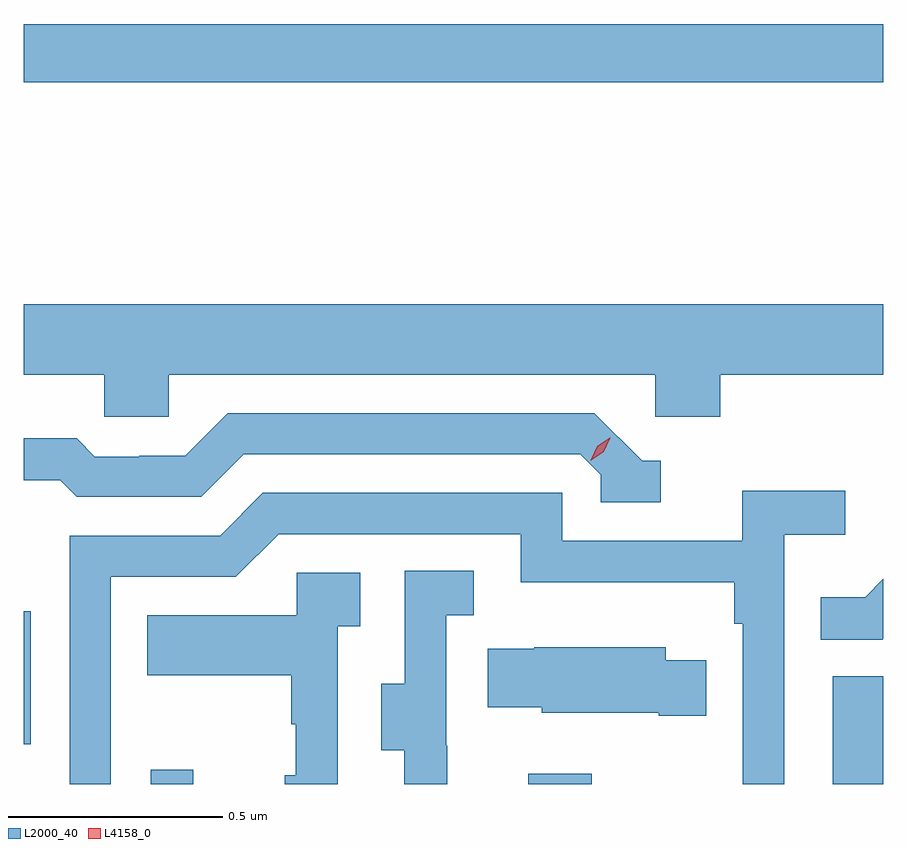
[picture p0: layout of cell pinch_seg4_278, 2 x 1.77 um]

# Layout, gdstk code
import gdstk
lib = gdstk.Library(unit=1e-6, precision=1e-09)
def R(c, l, rs):  # rectangles x0, y0, x1, y1
    for r in rs: c.add(gdstk.rectangle(r[:2], r[2:], *l))
def P(c, l, *ps):  # polygons
    for p in ps: c.add(gdstk.Polygon(p, *l))
L2000_40 = (2000, 40)
L4158_0 = (4158, 0)

pinch_seg4_278 = lib.new_cell('pinch_seg4_278')
R(pinch_seg4_278, L2000_40, [(936.777,819.844,936.875,819.877), (937.655,819.844,937.803,819.868), (938.363,819.844,938.481,820.095), (936.481,819.936,936.498,820.246), (936.481,821.476,938.481,821.612)])
P(pinch_seg4_278, L2000_40, [(936.819,820.796),(937.95,820.796),(937.95,820.698),(938.102,820.698),(938.102,820.796),(938.481,820.796),(938.481,820.96),(936.481,820.96),(936.481,820.796),(936.669,820.796),(936.669,820.698),(936.819,820.698)],
  [(937.963,820.596),(937.92,820.596),(937.809,820.707),(936.956,820.707),(936.857,820.608),(936.75,820.608),(936.75,820.605),(936.647,820.605),(936.605,820.648),(936.481,820.648),(936.481,820.551),(936.566,820.551),(936.605,820.512),(936.894,820.512),(936.993,820.611),(937.776,820.611),(937.824,820.563),(937.824,820.5),(937.963,820.5)],
  [(936.684,820.326),(936.975,820.326),(937.074,820.425),(937.638,820.425),(937.638,820.313),(938.134,820.313),(938.134,820.217),(938.154,820.217),(938.154,819.844),(938.25,819.844),(938.25,820.424),(938.392,820.424),(938.392,820.526),(938.153,820.526),(938.153,820.41),(937.734,820.41),(937.734,820.521),(937.037,820.521),(936.938,820.422),(936.588,820.422),(936.588,819.844),(936.684,819.844)],
  [(937.466,819.933),(937.464,819.933),(937.464,820.237),(937.528,820.237),(937.528,820.34),(937.368,820.34),(937.368,820.077),(937.313,820.077),(937.313,819.922),(937.367,819.922),(937.367,819.844),(937.466,819.844)],
  [(937.212,820.211),(937.264,820.211),(937.264,820.335),(937.116,820.335),(937.116,820.237),(936.769,820.237),(936.769,820.097),(937.104,820.097),(937.104,819.983),(937.114,819.983),(937.114,819.864),(937.088,819.864),(937.088,819.844),(937.212,819.844)],
  [(938.481,820.182),(938.481,820.321),(938.439,820.279),(938.335,820.279),(938.335,820.18),(938.479,820.18)],
  [(938.069,820.132),(937.975,820.132),(937.975,820.162),(937.669,820.162),(937.669,820.159),(937.561,820.159),(937.561,820.022),(937.686,820.022),(937.686,820.01),(937.958,820.01),(937.958,820.003),(938.069,820.003)])
P(pinch_seg4_278, L4158_0, [(937.8,820.597),(937.8,820.597),(937.815,820.63),(937.845,820.65),(937.846,820.65),(937.846,820.65),(937.831,820.617),(937.801,820.597)])

lib.write_gds('pinch_seg4_278.gds')
